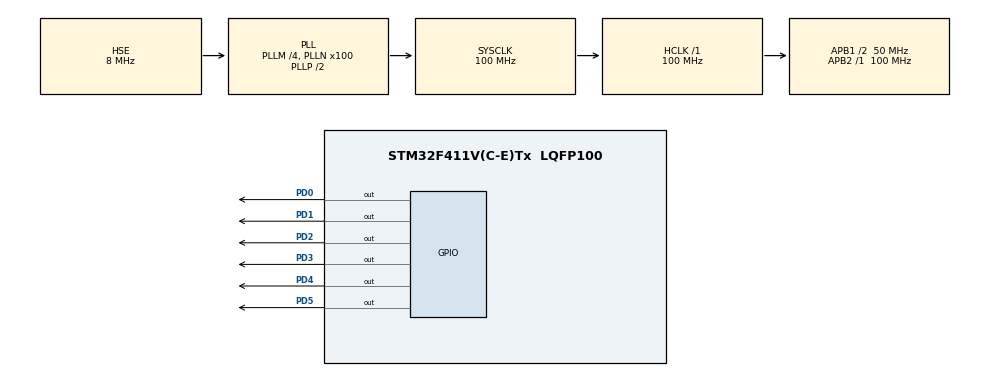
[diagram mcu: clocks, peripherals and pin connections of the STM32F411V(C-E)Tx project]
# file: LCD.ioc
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Mcu.Family=STM32F4
Mcu.Name=STM32F411V(C-E)Tx
Mcu.Package=LQFP100
NVIC.PriorityGroup=NVIC_PRIORITYGROUP_4
PD0.Signal=GPIO_Output
PD1.Signal=GPIO_Output
PD2.Signal=GPIO_Output
PD3.Signal=GPIO_Output
PD4.Signal=GPIO_Output
PD5.Signal=GPIO_Output
PH0\ -\ OSC_IN.Mode=HSE-External-Oscillator
PH0\ -\ OSC_IN.Signal=RCC_OSC_IN
PH1\ -\ OSC_OUT.Mode=HSE-External-Oscillator
PH1\ -\ OSC_OUT.Signal=RCC_OSC_OUT
ProjectManager.HeapSize=0x200
ProjectManager.StackSize=0x400
ProjectManager.TargetToolchain=MDK-ARM V5
RCC.48MHZClocksFreq_Value=50000000
RCC.AHBFreq_Value=100000000
RCC.APB1CLKDivider=RCC_HCLK_DIV2
RCC.APB1Freq_Value=50000000
RCC.APB1TimFreq_Value=100000000
RCC.APB2Freq_Value=100000000
RCC.APB2TimFreq_Value=100000000
RCC.CortexFreq_Value=100000000
RCC.HCLKFreq_Value=100000000
RCC.HSE_VALUE=8000000
RCC.HSI_VALUE=16000000
RCC.LSE_VALUE=32768
RCC.PLLM=4
RCC.PLLN=100
RCC.PLLSourceVirtual=RCC_PLLSOURCE_HSE
RCC.SYSCLKFreq_VALUE=100000000
RCC.SYSCLKSource=RCC_SYSCLKSOURCE_PLLCLK
RCC.VCOOutputFreq_Value=200000000
RTC.Date=28
RTC.Format=RTC_FORMAT_BIN
RTC.Hours=20
RTC.Minutes=45
RTC.Month=RTC_MONTH_MAY
RTC.SynchPrediv=249
RTC.WeekDay=RTC_WEEKDAY_TUESDAY
RTC.Year=19
VP_RTC_VS_RTC_Activate.Mode=RTC_Enabled
VP_RTC_VS_RTC_Calendar.Mode=RTC_Calendar
board=custom

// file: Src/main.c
/* USER CODE BEGIN Header */
/**
  ******************************************************************************
  * @file           : main.c
  * @brief          : Main program body
  ******************************************************************************
  * @attention
  *
  * <h2><center>&copy; Copyright (c) 2019 STMicroelectronics.
  * All rights reserved.</center></h2>
  *
  * This software component is licensed by ST under BSD 3-Clause license,
  * the "License"; You may not use this file except in compliance with the
  * License. You may obtain a copy of the License at:
  *                        opensource.org/licenses/BSD-3-Clause
  *
  ******************************************************************************
  */
/* USER CODE END Header */

#include "main.h"

/* USER CODE BEGIN Includes */
#include "lcd_txt.h"
/* USER CODE END Includes */

RTC_HandleTypeDef hrtc;

/* USER CODE BEGIN PV */
//float nhietDo = 30.0;
//int8_t  buffer[16];
RTC_TimeTypeDef sTime;
RTC_DateTypeDef sDate;
char * weekDay;
int8_t time[16];
int8_t date[16];
/* USER CODE END PV */

void SystemClock_Config(void);
static void MX_GPIO_Init(void);
static void MX_RTC_Init(void);

/* USER CODE BEGIN 0 */
char * WeekDay(uint8_t weekDayInNum)
{
	char * weekDate;
	switch (weekDayInNum)
		{
			case 0:
				weekDate = "Sun";
				break;
			case 1:
				weekDate = "Mon";
				break;
			case 2:
				weekDate = "Tue";
				break;
			case 3:
				weekDate = "Wed";
				break;
			case 4:
				weekDate = "Thu";
				break;
			case 5:
				weekDate = "Fri";
				break;
			case 6:
				weekDate = "Sat";
				break;
			default:
				weekDate = "Mon";
		}
		return weekDate;
	}
/* USER CODE END 0 */

int main(void)
{

  /* MCU Configuration--------------------------------------------------------*/

  /* Reset of all peripherals, Initializes the Flash interface and the Systick. */
  HAL_Init();

  /* Configure the system clock */
  SystemClock_Config();

  /* Initialize all configured peripherals */
  MX_GPIO_Init();
  MX_RTC_Init();
  /* USER CODE BEGIN 2 */
		lcd_init();
  /* USER CODE END 2 */

  /* Infinite loop */
  while (1)
  {

    /* USER CODE BEGIN 3 */
		HAL_RTC_GetTime(&hrtc, &sTime, RTC_FORMAT_BIN);
		HAL_RTC_GetDate(&hrtc, &sDate, RTC_FORMAT_BIN);
		sprintf(time,"%d:%d:%d", sTime.Hours, sTime.Minutes, sTime.Seconds);
		weekDay = WeekDay(sDate.WeekDay);
		sprintf(date,"%s/%d/%d/%d", weekDay, sDate.Date, sDate.Month, sDate.Year);
		//sprintf(buffer, "Nhiet do: %0.2f", nhietDo);
		//nhietDo++;
		//lcd_puts(0, 0, (int8_t *) "Hello");
		lcd_puts(0,0, time);
		lcd_puts(1,0, date);
		HAL_Delay(1000);
		lcd_clear();
  }
  /* USER CODE END 3 */
}

void SystemClock_Config(void)
{
  RCC_OscInitTypeDef RCC_OscInitStruct = {0};
  RCC_ClkInitTypeDef RCC_ClkInitStruct = {0};
  RCC_PeriphCLKInitTypeDef PeriphClkInitStruct = {0};

  /** Configure the main internal regulator output voltage
  */
  __HAL_RCC_PWR_CLK_ENABLE();
  __HAL_PWR_VOLTAGESCALING_CONFIG(PWR_REGULATOR_VOLTAGE_SCALE1);
  /** Initializes the CPU, AHB and APB busses clocks
  */
  RCC_OscInitStruct.OscillatorType = RCC_OSCILLATORTYPE_LSI|RCC_OSCILLATORTYPE_HSE;
  RCC_OscInitStruct.HSEState = RCC_HSE_ON;
  RCC_OscInitStruct.LSIState = RCC_LSI_ON;
  RCC_OscInitStruct.PLL.PLLState = RCC_PLL_ON;
  RCC_OscInitStruct.PLL.PLLSource = RCC_PLLSOURCE_HSE;
  RCC_OscInitStruct.PLL.PLLM = 4;
  RCC_OscInitStruct.PLL.PLLN = 100;
  RCC_OscInitStruct.PLL.PLLP = RCC_PLLP_DIV2;
  RCC_OscInitStruct.PLL.PLLQ = 4;
  if (HAL_RCC_OscConfig(&RCC_OscInitStruct) != HAL_OK)
  {
    Error_Handler();
  }
  /** Initializes the CPU, AHB and APB busses clocks
  */
  RCC_ClkInitStruct.ClockType = RCC_CLOCKTYPE_HCLK|RCC_CLOCKTYPE_SYSCLK
                              |RCC_CLOCKTYPE_PCLK1|RCC_CLOCKTYPE_PCLK2;
  RCC_ClkInitStruct.SYSCLKSource = RCC_SYSCLKSOURCE_PLLCLK;
  RCC_ClkInitStruct.AHBCLKDivider = RCC_SYSCLK_DIV1;
  RCC_ClkInitStruct.APB1CLKDivider = RCC_HCLK_DIV2;
  RCC_ClkInitStruct.APB2CLKDivider = RCC_HCLK_DIV1;

  if (HAL_RCC_ClockConfig(&RCC_ClkInitStruct, FLASH_LATENCY_3) != HAL_OK)
  {
    Error_Handler();
  }
  PeriphClkInitStruct.PeriphClockSelection = RCC_PERIPHCLK_RTC;
  PeriphClkInitStruct.RTCClockSelection = RCC_RTCCLKSOURCE_LSI;
  if (HAL_RCCEx_PeriphCLKConfig(&PeriphClkInitStruct) != HAL_OK)
  {
    Error_Handler();
  }
}

static void MX_RTC_Init(void)
{

  RTC_TimeTypeDef sTime = {0};
  RTC_DateTypeDef sDate = {0};

  /** Initialize RTC Only
  */
  hrtc.Instance = RTC;
  hrtc.Init.HourFormat = RTC_HOURFORMAT_24;
  hrtc.Init.AsynchPrediv = 127;
  hrtc.Init.SynchPrediv = 249;
  hrtc.Init.OutPut = RTC_OUTPUT_DISABLE;
  hrtc.Init.OutPutPolarity = RTC_OUTPUT_POLARITY_HIGH;
  hrtc.Init.OutPutType = RTC_OUTPUT_TYPE_OPENDRAIN;
  if (HAL_RTC_Init(&hrtc) != HAL_OK)
  {
    Error_Handler();
  }

  /** Initialize RTC and set the Time and Date
  */
  sTime.Hours = 20;
  sTime.Minutes = 45;
  sTime.Seconds = 0;
  sTime.DayLightSaving = RTC_DAYLIGHTSAVING_NONE;
  sTime.StoreOperation = RTC_STOREOPERATION_RESET;
  if (HAL_RTC_SetTime(&hrtc, &sTime, RTC_FORMAT_BIN) != HAL_OK)
  {
    Error_Handler();
  }
  sDate.WeekDay = RTC_WEEKDAY_TUESDAY;
  sDate.Month = RTC_MONTH_MAY;
  sDate.Date = 28;
  sDate.Year = 19;

  if (HAL_RTC_SetDate(&hrtc, &sDate, RTC_FORMAT_BIN) != HAL_OK)
  {
    Error_Handler();
  }

}

static void MX_GPIO_Init(void)
{
  GPIO_InitTypeDef GPIO_InitStruct = {0};

  /* GPIO Ports Clock Enable */
  __HAL_RCC_GPIOH_CLK_ENABLE();
  __HAL_RCC_GPIOD_CLK_ENABLE();

  /*Configure GPIO pin Output Level */
  HAL_GPIO_WritePin(GPIOD, GPIO_PIN_0|GPIO_PIN_1|GPIO_PIN_2|GPIO_PIN_3
                          |GPIO_PIN_4|GPIO_PIN_5, GPIO_PIN_RESET);

  /*Configure GPIO pins : PD0 PD1 PD2 PD3
                           PD4 PD5 */
  GPIO_InitStruct.Pin = GPIO_PIN_0|GPIO_PIN_1|GPIO_PIN_2|GPIO_PIN_3
                          |GPIO_PIN_4|GPIO_PIN_5;
  GPIO_InitStruct.Mode = GPIO_MODE_OUTPUT_PP;
  GPIO_InitStruct.Pull = GPIO_NOPULL;
  GPIO_InitStruct.Speed = GPIO_SPEED_FREQ_LOW;
  HAL_GPIO_Init(GPIOD, &GPIO_InitStruct);

}

void Error_Handler(void)
{
}

/************************ (C) COPYRIGHT STMicroelectronics *****END OF FILE****/
